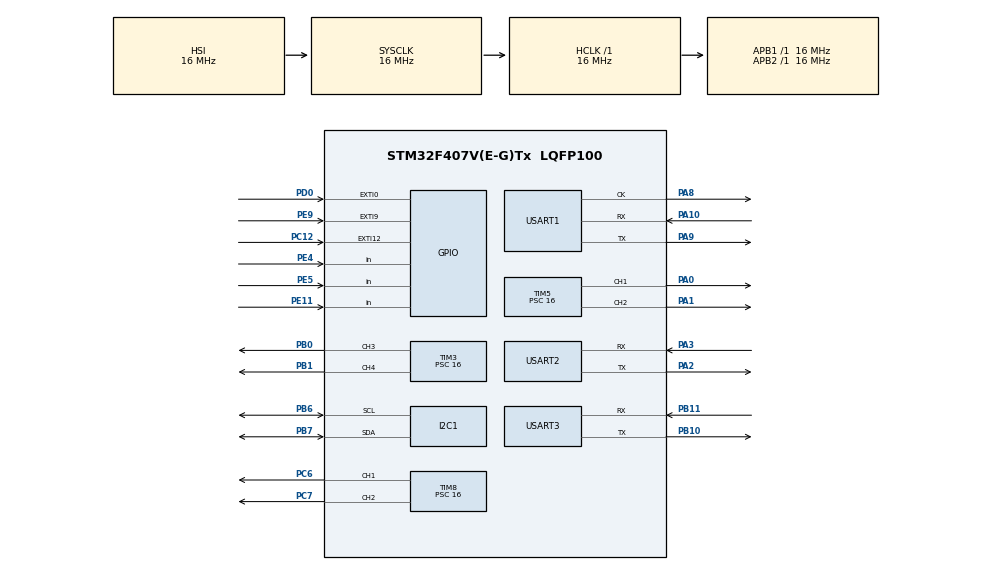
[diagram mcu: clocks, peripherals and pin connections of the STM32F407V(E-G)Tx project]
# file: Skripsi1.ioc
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Dma.Request0=USART2_RX
Dma.USART2_RX.0.Direction=DMA_PERIPH_TO_MEMORY
Dma.USART2_RX.0.FIFOMode=DMA_FIFOMODE_DISABLE
Dma.USART2_RX.0.Instance=DMA1_Stream5
Dma.USART2_RX.0.MemDataAlignment=DMA_MDATAALIGN_BYTE
Dma.USART2_RX.0.MemInc=DMA_MINC_ENABLE
Dma.USART2_RX.0.Mode=DMA_NORMAL
Dma.USART2_RX.0.PeriphDataAlignment=DMA_PDATAALIGN_BYTE
Dma.USART2_RX.0.PeriphInc=DMA_PINC_DISABLE
Dma.USART2_RX.0.Priority=DMA_PRIORITY_LOW
Mcu.Family=STM32F4
Mcu.Name=STM32F407V(E-G)Tx
Mcu.Package=LQFP100
NVIC.DMA1_Stream5_IRQn=true\:0\:0\:false\:false\:true\:false\:true
NVIC.EXTI0_IRQn=true\:0\:0\:false\:false\:true\:true\:true
NVIC.EXTI15_10_IRQn=true\:0\:0\:false\:false\:true\:true\:true
NVIC.EXTI9_5_IRQn=true\:0\:0\:false\:false\:true\:true\:true
NVIC.PriorityGroup=NVIC_PRIORITYGROUP_4
PA0-WKUP.Signal=S_TIM5_CH1
PA1.Signal=S_TIM5_CH2
PA10.Mode=Synchronous
PA10.Signal=USART1_RX
PA2.Mode=Asynchronous
PA2.Signal=USART2_TX
PA3.Mode=Asynchronous
PA3.Signal=USART2_RX
PA8.Mode=Synchronous
PA8.Signal=USART1_CK
PA9.Mode=Synchronous
PA9.Signal=USART1_TX
PB0.Signal=S_TIM3_CH3
PB1.Signal=S_TIM3_CH4
PB10.Mode=Asynchronous
PB10.Signal=USART3_TX
PB11.Mode=Asynchronous
PB11.Signal=USART3_RX
PB6.Mode=I2C
PB6.Signal=I2C1_SCL
PB7.Mode=I2C
PB7.Signal=I2C1_SDA
PC12.GPIO_PuPd=GPIO_PULLUP
PC12.Signal=GPXTI12
PC6.Signal=S_TIM8_CH1
PC7.Signal=S_TIM8_CH2
PD0.GPIO_PuPd=GPIO_PULLUP
PD0.Signal=GPXTI0
PE11.GPIO_PuPd=GPIO_PULLUP
PE11.Signal=GPIO_Input
PE4.GPIO_PuPd=GPIO_PULLUP
PE4.Signal=GPIO_Input
PE5.GPIO_PuPd=GPIO_PULLUP
PE5.Signal=GPIO_Input
PE9.GPIO_PuPd=GPIO_PULLUP
PE9.Signal=GPXTI9
PH0-OSC_IN.Mode=HSE-External-Oscillator
PH0-OSC_IN.Signal=RCC_OSC_IN
PH1-OSC_OUT.Mode=HSE-External-Oscillator
PH1-OSC_OUT.Signal=RCC_OSC_OUT
ProjectManager.HeapSize=0x200
ProjectManager.StackSize=0x400
ProjectManager.TargetToolchain=STM32CubeIDE
RCC.AHBFreq_Value=16000000
RCC.APB1Freq_Value=16000000
RCC.APB2Freq_Value=16000000
RCC.CortexFreq_Value=16000000
RCC.HSE_VALUE=25000000
RCC.HSI_VALUE=16000000
RCC.LSE_VALUE=32768
RCC.SYSCLKFreq_VALUE=16000000
RCC.VCOOutputFreq_Value=192000000
SH.S_TIM3_CH3.0=TIM3_CH3,PWM Generation3 CH3
SH.S_TIM3_CH4.0=TIM3_CH4,PWM Generation4 CH4
SH.S_TIM5_CH1.0=TIM5_CH1,PWM Generation1 CH1
SH.S_TIM5_CH2.0=TIM5_CH2,PWM Generation2 CH2
SH.S_TIM8_CH1.0=TIM8_CH1,PWM Generation1 CH1
SH.S_TIM8_CH2.0=TIM8_CH2,PWM Generation2 CH2
TIM1.Period=3999
TIM1.Prescaler=16000
TIM2.Period=2000
TIM2.Prescaler=16
TIM3.Channel-PWM\ Generation3\ CH3=TIM_CHANNEL_3
TIM3.Channel-PWM\ Generation4\ CH4=TIM_CHANNEL_4
TIM3.ClockDivision=TIM_CLOCKDIVISION_DIV1
TIM3.Period=1024
TIM3.Prescaler=16
TIM3.Pulse-PWM\ Generation3\ CH3=0
TIM3.Pulse-PWM\ Generation4\ CH4=0
TIM5.Channel-PWM\ Generation1\ CH1=TIM_CHANNEL_1
TIM5.Channel-PWM\ Generation2\ CH2=TIM_CHANNEL_2
TIM5.Period=1024
TIM5.Prescaler=16
TIM5.Pulse-PWM\ Generation1\ CH1=0
TIM8.Channel-PWM\ Generation1\ CH1=TIM_CHANNEL_1
TIM8.Channel-PWM\ Generation2\ CH2=TIM_CHANNEL_2
TIM8.Period=1024
TIM8.Prescaler=16
USART1.VirtualMode=VM_SYNC
USART2.VirtualMode=VM_ASYNC
USART3.VirtualMode=VM_ASYNC
VP_TIM1_VS_ClockSourceINT.Mode=Internal
VP_TIM2_VS_ClockSourceINT.Mode=Internal
board=custom

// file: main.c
/* USER CODE BEGIN Header */
/**
  ******************************************************************************
  * @file           : main.c
  * @brief          : Main program body
  ******************************************************************************
  * @attention
  *
  * <h2><center>&copy; Copyright (c) 2020 STMicroelectronics.
  * All rights reserved.</center></h2>
  *
  * This software component is licensed by ST under BSD 3-Clause license,
  * the "License"; You may not use this file except in compliance with the
  * License. You may obtain a copy of the License at:
  *                        opensource.org/licenses/BSD-3-Clause
  *
  ******************************************************************************
  */
/* USER CODE END Header */

#include "main.h"
#include "stm32f4xx_hal.h"
#include "STMSerial.h"
#include "math.h"
#include "stdio.h"
#include "stdlib.h"
#include "stdbool.h"
#include <string.h>
char USART2_read(void);
int USART2_write(int ch);
void _penyelarasan(char *input,char *temp,char *nilai);
void _pembacaan(char* input,char* temp);

I2C_HandleTypeDef hi2c1;

TIM_HandleTypeDef htim1;
TIM_HandleTypeDef htim2;
TIM_HandleTypeDef htim3;
TIM_HandleTypeDef htim5;
TIM_HandleTypeDef htim8;

USART_HandleTypeDef husart1;
UART_HandleTypeDef huart2;
UART_HandleTypeDef huart3;
DMA_HandleTypeDef hdma_usart2_rx;

/* USER CODE BEGIN PV */
int state=0;
int a=0,b=0,z,kec,banyakString,awal,tengah, akhir,v1,v3,kode,kecepatan,k=0;
char txData[10];
char rxData [50];
char kod;
char v2,v;
char dataS1[10];
char dataS2[10];
char dataS3[10];
char dataS12[10];
char dataS22[10];
char dataS32[10];
char dataSS12[10];
char dataSS22[10];
char dataSS32[10];
char* token;
char** rest[30];
char ch;
char kec1[64];
char kec2[64];
char kec3[64];
char xx[10];
char yy[10];

/* Private variables ---------------------------------------------------------*/
//=================== Nilai Encoder 1, 2, dan 3==============================
int en1,en2,en3;
int TotalEnc1,TotalEnc2,TotalEnc3;
int tPulsa_P=110;
int Current_P;
int Prev_p;

//================== Variable untuk pewaktu===========================
uint32_t Previous;
uint32_t Current;
int count1,count2;
int Interval = 100;
int Interval2 = 100;
int inter=0;
int range=0;
int WaktuMs;

//=================Variable Persamaan PID motor 1======================
int Error1;
int Last_Error1;
double Sum_Error1;
double SetPoint1 = 0;
double Real;
float PID_term1;
float KP1=4.5;
float KI1=0.01;
float KD1=0.5;

//=================Variable Persamaan PID motor 2======================
int Error2;
int Last_Error2;
double Sum_Error2;
double SetPoint2 = 0;
double Real;
float PID_term2;
float KP2=4.5;
float KI2=0.01;
float KD2=0.5;

//=================Variable Persamaan PID motor 3======================
int Error3;
int Last_Error3;
double Sum_Error3;
double SetPoint3 = 0;
double Real;
float PID_term3;
float KP3=4.5;
float KI3=0.01;
float KD3=0.5;
float RPM1,RPM2,RPM3;

//=================Variable Moving Avereage====================
int ke1,ke2,ke3;
int data[10];
int hasil;

//===================Variable Motor=============================
int Duty1,Duty2,Duty3;
float Wx,Wy,Ww;

//========================== Variable Koordinat  X dan Y=================
float Xt,X0 ;
float Yt,Y0;
float Wt,W0;
float Tht = 0;

float Dt;
float EM1, EM2, EM3;
float Vx,Vy,V0;
float limit_Vx,limit_Vy,limit_Vw;
bool X;
int pe=0;

float VRx,VRy,VRw;
float wI1,wI2,wI3;
//============================Data Regresi================================

int data_1[105],data_2[105],data_3[105];
int RPM1_F,PWM1_F,RPM1_B,PWM1_B,RPM2_F,PWM2_F,RPM2_B,PWM2_B,RPM3_F,PWM3_F,RPM3_B,PWM3_B;

//============================Trajectory Tracking======================
float VX0,VY0,VTh0,VXt,VYt,VTht;
int eX,eY,eth;
float kx  = 0;
float ky  = 0;
float kth = 0;
int l;

//=======================jarak X,Y dan 0============
int jarak_M1,jarak_M2,jarak_M3;
float kor_X,kor_Y;
int n,xT,yT;
double jarak_tempuhX,jarak_sebelumX,jarak_totalX;
double jarak_tempuhY,jarak_sebelumY,jarak_totalY;
double jarak_tempuh0,jarak_sebelum0,jarak_total0;

//======================= kecepatan V ms =================
float Vxms,Vyms,Vwms;

//====================== Trajectory Tracking ===================
double Zxref,Zxt,Zx0,Vzx0,Vzxref;
double Zyref,Zyt,Zy0,Vzy0,Vzyref;
double Z0ref,Z0t,Z00,Vz00,Vz0ref;
double Ztf,Zt,t,DeltaX,DeltaY,Delta0;

//====================== Error Trajectory =================
double EZx_Sekarang,EZx_Sebelum,EZx_Total;
double EZy_Sekarang,EZy_Sebelum,EZy_Total;
double EZ0_Sekarang,EZ0_Sebelum,EZ0_Total;

//===================== Trajetory Tracking ============
float ax0,ax1,ax2,ax3;
float ay0,ay1,ay2,ay3;
float a00,a01,a02,a03;

/* USER CODE END PV */

void SystemClock_Config(void);
static void MX_GPIO_Init(void);
static void MX_DMA_Init(void);
static void MX_TIM3_Init(void);
static void MX_TIM5_Init(void);
static void MX_TIM8_Init(void);
static void MX_USART2_UART_Init(void);
static void MX_I2C1_Init(void);
static void MX_TIM1_Init(void);
static void MX_TIM2_Init(void);
static void MX_USART1_Init(void);
static void MX_USART3_UART_Init(void);
/* USER CODE BEGIN PFP */
/* Private function prototypes -----------------------------------------------*/
float Moving_Average(int input){

	float Hasil_f;
	data[ke1] = input;
	ke1++;
	if(ke1 == 10){
		ke1 =0;
	}

	Hasil_f = (data[0] + data[1] + data[2] + data[3] + data[4] + data[5] + data[6] + data[7] + data[8] + data[9] )/10;

   return 	Hasil_f ;

}

void PID_TERM_1(){
	Error1 = (SetPoint1) - RPM1;
	PID_term1 = (KP1 * Error1) + (KI1 * Sum_Error1) + ((KD1/Interval) * (Error1 - Last_Error1));
	Sum_Error1 += Error1;
	Last_Error1 = Error1;
}

void PID_TERM_2(){
	Error2 = (SetPoint2) - RPM2;
	PID_term2 = (KP2 * Error2) + (KI2 * Sum_Error2) + ((KD2/Interval) * (Error2 - Last_Error2));
	Sum_Error2 += Error2;
	Last_Error2 = Error2;
}

void PID_TERM_3(){
	Error3 = (SetPoint3) - RPM3;
	PID_term3 = (KP3 * Error3) + (KI3 * Sum_Error3) + ((KD3/Interval) * (Error3 - Last_Error3));
	Sum_Error3 += Error3;
	Last_Error3 = Error3;
}

void interval(int Interval){
	/*fungsi ini digunakan untuk mengambil data dalam jangka waktu tertentu.
	 * variable Interval dimasukan dalam orde miliSecond
	 *
	 */
	count1 = __HAL_TIM_GET_COUNTER(&htim1);
	if(count1 == Interval-1){
		   //STM_Serial_PrintInt(count1);
		  // STM_Serial_Print("\n\r");
		   __HAL_TIM_SET_COUNTER(&htim1,0);

		  }
}

void Motor_2(int Kecepatan_1){
	if(Kecepatan_1 > 0){
		htim5.Instance->CCR2 = Kecepatan_1;
		htim5.Instance->CCR1 = 0;
	}
	else if(Kecepatan_1 < 0){
		htim5.Instance->CCR2 = 0;
		htim5.Instance->CCR1 = Kecepatan_1*-1;
	}
	else if(Kecepatan_1 == 0){
		htim5.Instance->CCR2 = 0;
		htim5.Instance->CCR1 = 0;
	}
}

void Motor_1(int Kecepatan_2){
	if(Kecepatan_2 > 0){
		htim3.Instance->CCR3 = Kecepatan_2;
		htim3.Instance->CCR4 = 0;
	}
	else if(Kecepatan_2 < 0){
		htim3.Instance->CCR3 = 0;
		htim3.Instance->CCR4 = Kecepatan_2*-1;
	}
	else if(Kecepatan_2 == 0){
		htim3.Instance->CCR3 = 0;
		htim3.Instance->CCR4 = 0;
	}
}

void Motor_3(int Kecepatan_3){
	if(Kecepatan_3 > 0){
		htim8.Instance->CCR1 = Kecepatan_3;
		htim8.Instance->CCR2 = 0;
	}
	else if(Kecepatan_3 < 0){
		htim8.Instance->CCR1 = 0;
		htim8.Instance->CCR2 = Kecepatan_3*-1;
	}
	else if(Kecepatan_3 == 0){
		htim8.Instance->CCR1 = 0;
		htim8.Instance->CCR2 = 0;
	}
}

void Forward_kinematic(float w1, int w2, int w3){

//	 if (wI1 <0){
//		 w1 = w1*-1;
//	 	 }
//	 if (wI2 <0){
//	 		 w2 = w2*-1;
//	 	 }
//	 if (wI3 <0){
//	 		 w3 = w3*-1;
//	 	}
	Wx = 0.866 * w1  - 0.866 * w2;
	Wy = 0.5   * w1  + 0.5   * w2 - w3;
	Ww = w1/14 + w2/14 + w3/14;

	VRx = (3*2*3.14) * Wx;
	VRy = (3*2*3.14) * Wy;
	VRw = (3*2*3.14) * Ww;
//Punyaku
//	Wx = -0.866 * w1  - 0.866 * w2 - w3;
//	Wy = 0.5   * w1  - 0.5   * w2;
//	Ww = w1/14 + w2/14 + w3/14;
//
//	VRx = (3*2*3.14) * Wx;
//	VRy = (3*2*3.14) * Wy;
//	VRw = (3*2*3.14) * Ww;

}

void Inverse_Kinematic(float x, float y, float w ){
	/*============Persamaan Forward Kinematik  3 Roda===================
	 * th = 30;
	 *
	 * Vx = ( cos(th)*V1 - cos(th)*V2 +  0    )/r
	 * Vy = ( sin(th)*V1 +  sin(th)*V2  -V3   )/r
	 * V0 = (    V1/14   +    V2/14   + V3/14 )/r
	 *
	 * ===========Persamaan Inverse Kinematik 3 Roda=====================
	 *
	 */

	wI1 = ( 0.333*y + 0.5774*x +  4.667*w);
	wI3 = ( 0.333*y - 0.5774*x +  4.667*w);
	wI2 = (-0.667*y + 0        +  4.667*w);

	SetPoint1 = wI1/(3*2*3.14);
	SetPoint2 = wI2/(3*2*3.14);
	SetPoint3 = wI3/(3*2*3.14);

//punyaku
//	wI1 = ( 1*y - 0.268*x +  3.7537*w);
//	wI3 = ( -1*y - 0.268*x +  3.7537*w);
//	wI2 = (0 + 0.536*x        +  6.501*w);
//
//	SetPoint1 = wI1/(3*2*3.14);
//	SetPoint2 = wI2/(3*2*3.14);
//	SetPoint3 = wI3/(3*2*3.14);

}

void koordinat(float S_M1,float S_M2, float S_M3){
	int X,Y;

	X = -0.866*S_M1  -0.866*S_M3 + S_M2;
	Y = -0.5 *S_M1 + 0.5* S_M3;

	kor_X = X;
	kor_Y = Y;
}

void Jarak_Tempuh(float SX, float SY){
	/*Persamaan Jarak tempuh
	 * th = 120;
	 * S1 = -0.866*SX  + 0.5493*SY
	 * S2 = -0.866*SX  - 0.5493*SY
	 * S3 =  1.7321*SX
//	 */
//	S_M1t = -0.866*SX + 0.866*SY;
//	S_M2t = -0.866*SX - 0.5493*SY;
//	S_M3t =  1.7321*SX           ;
//
//	Vx = SX;
//	Vy = SY;
//	V0 = 0;

}

float Scaling(float in, uint8_t x1, uint8_t x2, uint8_t y1, uint8_t y2 ){
	float  m;
	float  out;
	m = (y2 - y1)/ (x2 - x1);
	out = m*in + y1;
	return out;
}

float constrain( float in, uint16_t up, uint8_t down){
	float out;
	if(in < down){
		out = down;
	}
	else if ( in > up){
		out = up;
	}
	else
		out = in;

	return out;
}

void persamaan_regresi(){
	/*==================Persamaan Regresi Linear========================
	 * y = RPM (Output)
	 * x = PWM (Input)
	 *
	 * Persmaan liner Motor 1 Maju
	 * y = 0.28*x-10
	 *
	 * Persmaan liner Motor 1 Mundur
	 * y = 0.28*x-10
	 *
	 * Persmaan linear motor 2 maju
	 * y = 0.28*x-17
	 *
	 * Persamaan linear motor 2 Mundur
	 * y = 0.28*x-15
	 *
	 * Persamaan liner motor 3 maju
	 * y = 0.28*x-11
	 *
	 * Persamaan liner motor 3 Mundur
	 * y = 0.28*x -11
	 */
	//====================RPM Motor 1=============================
		PWM1_F = ((100*RPM1_F)/28)+10;

		PWM1_B = ((100*RPM1_B)/28)+10;

	//====================RPM Motor 2=============================
		PWM2_F = ((100*RPM2_F)/28)+17;

		PWM2_B = ((100*RPM2_B)/28)+15;

	//====================RPM Motor 3=============================
		PWM3_F = ((100*RPM3_F)/28)+11;

		PWM3_B = ((100*RPM3_B)/28)+11;

}

void Tampilan_Serial(int x){
	switch(x){

	case 1:
		   STM_Serial_Print("count :");
		   STM_Serial_PrintInt(count1);
		   STM_Serial_Print(" | ");
		   STM_Serial_Print("Setpoint 1 :");
		   STM_Serial_PrintInt(SetPoint1);
		   STM_Serial_Print(" | ");
		   STM_Serial_Print(" PWM1 :");
		   STM_Serial_PrintInt(Duty1);
		   STM_Serial_Print(" |   ");
		   STM_Serial_Print("Setpoint 2 :");
		   STM_Serial_PrintInt(SetPoint2);
		   STM_Serial_Print(" | ");
		   STM_Serial_Print(" PWM2 :");
		   STM_Serial_PrintInt(Duty2);
		   STM_Serial_Print(" |   ");
		   STM_Serial_Print("Setpoint 3 :");
		   STM_Serial_PrintInt(SetPoint3);
		   STM_Serial_Print(" | ");
		   STM_Serial_Print(" PWM3 :");
		   STM_Serial_PrintInt(Duty3);
		   STM_Serial_Print(" | \r\n");
		  break;
	case 2:
			STM_Serial_PrintInt(Error1);
			STM_Serial_Print(" | ");
			STM_Serial_PrintInt(Error2);
			STM_Serial_Print(" | ");
			STM_Serial_PrintInt(Error3);
			STM_Serial_Print(" | ");
			STM_Serial_PrintInt(data[4]);
			STM_Serial_Print(" | ");
			STM_Serial_PrintInt(data[5]);
			STM_Serial_Print(" | ");
			STM_Serial_PrintInt(data[6]);
			STM_Serial_Print(" | ");
			STM_Serial_PrintInt(data[7]);
			STM_Serial_Print(" | ");
			STM_Serial_PrintInt(data[8]);
			STM_Serial_Print(" | ");
			STM_Serial_PrintInt(data[9]);
			STM_Serial_Print(" | \r\n");
			break;
	case 3:
		STM_Serial_Print("Nilai VX ms :");
		STM_Serial_PrintInt(Vxms);
		STM_Serial_Print(" | ");
		STM_Serial_Print("Nilai VY ms :");
		STM_Serial_PrintInt(Vyms);
		STM_Serial_Print(" | ");
		STM_Serial_Print("Nilai Vw ms :");
		STM_Serial_PrintInt(Vwms);
		STM_Serial_Print(" | \r\n");
		break;

	case 4 :
		STM_Serial_PrintInt(VRx);
		STM_Serial_Print(" | ");
		STM_Serial_PrintInt(VRy);
		STM_Serial_Print(" | ");
		STM_Serial_PrintInt(VRw);
		STM_Serial_Print(" | ");
		STM_Serial_Print("Data Motor1 RPM :");
	    STM_Serial_PrintInt(RPM1);
		STM_Serial_Print("Data Motor2 RPM :");
	    STM_Serial_PrintInt(RPM2);
		STM_Serial_Print("Data Motor3 RPM :");
	    STM_Serial_PrintInt(RPM3);
		STM_Serial_Print(" | \r\n");
		break;

	case 5:

		STM_Serial_PrintInt(jarak_M1);
		STM_Serial_Print(" | ");
		STM_Serial_PrintInt(jarak_M2);
		STM_Serial_Print(" | ");
		STM_Serial_PrintInt(jarak_M3);
		STM_Serial_Print(" | \r\n");
		break;

	case 6 :
		   STM_Serial_Print("Data Motor1 RPM :");
		   STM_Serial_PrintInt(RPM1);
		   STM_Serial_Print(" | ");
		   STM_Serial_Print(" PWM1 :");
		   STM_Serial_PrintInt(Duty1);
		   STM_Serial_Print(" |   ");
		   STM_Serial_Print("Data Motor2 RPM :");
		   STM_Serial_PrintInt(RPM2);
		   STM_Serial_Print(" | ");
		   STM_Serial_Print(" PWM2 :");
		   STM_Serial_PrintInt(Duty2);
		   STM_Serial_Print(" |   ");
		   STM_Serial_Print("Data Motor3 RPM :");
		   STM_Serial_PrintInt(RPM3);
		   STM_Serial_Print(" | ");
		   STM_Serial_Print(" PWM3 :");
		   STM_Serial_PrintInt(Duty3);
		   STM_Serial_Print(" | \r\n");
		  break;

	case 7 :
//		STM_Serial_Print("Jarak Tempuh X :");
//		STM_Serial_PrintInt(jarak_tempuhX);
//		STM_Serial_Print("|");
//		STM_Serial_Print("Jarak Total X :");
		STM_Serial_PrintInt(jarak_totalX);
		STM_Serial_Print("|");
//		STM_Serial_Print("Jarak sebelum X :");
//		STM_Serial_PrintInt(jarak_sebelumX);
//		STM_Serial_Print("  |  |  ");
//		STM_Serial_Print("Jarak Tempuh Y :");
//		STM_Serial_PrintInt(jarak_tempuhY);
//		STM_Serial_Print("|");
//		STM_Serial_Print("Jarak Total Y :");
		STM_Serial_PrintInt(jarak_totalY);
//		STM_Serial_Print("|");
//		STM_Serial_Print("Jarak sebelum Y :");
//		STM_Serial_PrintInt(jarak_sebelumY);
		STM_Serial_Print("\r\n");
		break;

	case 8 :
		STM_Serial_Print("Jarak Tempuh X :");
		STM_Serial_PrintInt(Vx);
		STM_Serial_Print("|");
		STM_Serial_Print(" X :");
		STM_Serial_PrintInt(Zxt);
		STM_Serial_Print("|");
		STM_Serial_Print("|\r\n");
		break;

	case 9 :
		STM_Serial_ReadBegin(4);
//		STM_Serial_Print("Hasil Bacaan :");
//		STM_Serial_PrintInt(Vx);
		break;
	case 10 :
		STM_Serial_PrintInt(Zxt);
		STM_Serial_Print("x");
		STM_Serial_Print("?");
		STM_Serial_PrintInt(Zyt);
		STM_Serial_Print("y");
		STM_Serial_Print("?");
//		STM_Serial_Print(" 0 :");
//		STM_Serial_PrintInt(Z0t);
//		STM_Serial_Print("|");
//		STM_Serial_Print("|\r\n");
	case 11 :
//		STM_Serial_PrintInt(RPM1);
//		STM_Serial_Print(" | ");
//		STM_Serial_PrintInt(RPM2);
//		STM_Serial_Print(" | ");
//		STM_Serial_PrintInt(RPM3);
//		STM_Serial_Print(" |\n ");
		STM_Serial_PrintInt(EZx_Sekarang/10); // nilai real robot
		//STM_Serial_Print("x");
		STM_Serial_Print(",");
		STM_Serial_PrintInt(EZy_Sekarang/10); // nilai real robot
		//STM_Serial_Print("y");
		STM_Serial_Print("?");
	case 12 :
		STM_Serial_PrintInt(RPM1);
		STM_Serial_Print(",");
		STM_Serial_PrintInt(RPM2);
		STM_Serial_Print(",");
		STM_Serial_PrintInt(RPM3);
		STM_Serial_Print("?");

	}
}

void riset_error(){
	Error1 = 0;
	Sum_Error1 = 0;
	Last_Error1 =0;

	Error2 = 0;
	Sum_Error2 = 0;
	Last_Error2 =0;

	Error3 = 0;
	Sum_Error3 = 0;
	Last_Error3 =0;
}

void TF_Motor1(){
	  if(SetPoint1 > 0){
		  RPM1_F = SetPoint1/6;
		  PWM1_F = ((100/28)*RPM1_F)+10;
		  Duty1 = PWM1_F;
		  Motor_1(Duty1);
	  }

	  else if(SetPoint1 <= 0){
		  RPM1_B = -1*SetPoint1/6;
		  PWM1_B = ((100/28)*RPM1_B)+10;
		  Duty1 = PWM1_B;
		  Motor_1(-1*Duty1);
	  }
}

void TF_Motor2(){
	  if(SetPoint2 > 0){
		  RPM2_F = SetPoint2/6;
		  PWM2_F = ((100/28)*RPM2_F)+17;
		  Duty2 = PWM2_F;
		  Motor_2(Duty2);
	  }

	  else if(SetPoint2 <= 0){
		  RPM2_B = -1*SetPoint2/6;
		  PWM2_B = ((100/28)*RPM2_B)+15;
		  Duty2 = PWM2_B;
		  Motor_2(-1*Duty2);
	  }
}

void TF_Motor3(){
	  if(SetPoint3 > 0){
		  RPM3_F = SetPoint3/6;
		  PWM3_F = ((100/28)*RPM3_F)+17;
		  Duty3 = PWM3_F;
		  Motor_3(Duty3);
	  }

	  else if(SetPoint3 <= 0){
		  RPM3_B = -1*SetPoint3/6;
		  PWM3_B = ((100/28)*RPM3_B)+15;
		  Duty3 = PWM3_B;
		  Motor_3(-1*Duty3);
	  }
}
void readVelocity(){
	if(rxData[4] == '1'){
			//  strcpy(dataS1,"");
			strncpy(dataS1,rxData,4);
			if (atoi(dataS1)==0 && strstr(dataS1,"-")){
				a = - atoi(dataS1);
			}else{
				a = atoi(dataS1);
			}
		}

	if(rxData[10] == '2'){
			//  strcpy(dataS2,"");
			strncpy(dataS2,(rxData)+6,4);
			if (atoi(dataS2)==0 && strstr(dataS2,"-")){
				b = - atoi(dataS2);
			}else{
				b = atoi(dataS2);
			}
		}
//		else if(rxData[4] == '3'){
//			//  strcpy(dataS3,"");
//			strncpy(dataS3,rxData,4);
//			if (atoi(dataS3)==0 && strstr(dataS3,"-")){
//				z = - atoi(dataS3);
//			}else{
//				z = atoi(dataS3);
//			}
//		}
//		else{
//			Motor_1(0);
//			Motor_2(0);
//			Motor_3(0);
//			//STM_Serial_Print("undefined");
//		}

//----------------------------------------------------------------------------
//	if(rxData[4] == '1'){
//		//  strcpy(dataS1,"");
//		strncpy(dataS1,rxData,4);
//		if (atoi(dataS1)==0 && strstr(dataS1,"-")){
//			a = - atoi(dataS1);
//		}else{
//			a = atoi(dataS1);
//		}
//
//		//STM_Serial_PrintInt(x);
//		//Motor_1(x);
//		//STM_Serial_PrintInt(x+"1");
//	}
//	else if(rxData[4] == '2'){
//		//  strcpy(dataS2,"");
//		strncpy(dataS2,rxData,4);
//		if (atoi(dataS2)==0 && strstr(dataS2,"-")){
//			b = - atoi(dataS2);
//		}else{
//			b = atoi(dataS2);
//		}
//		//y = atoi(dataS2);
//		//STM_Serial_PrintInt(y);
//	//				  STM_Serial_Print("Y ");
//	//				  STM_Serial_Print("\n");
//		//Motor_2(y);
//		//STM_Serial_PrintInt(y+"2");
//	}
//	else if(rxData[4] == '3'){
//		//  strcpy(dataS3,"");
//		strncpy(dataS3,rxData,4);
//		if (atoi(dataS3)==0 && strstr(dataS3,"-")){
//			z = - atoi(dataS3);
//		}else{
//			z = atoi(dataS3);
//		}
//		//z = atoi(dataS3);
//		//STM_Serial_PrintInt(z);
//	//				  STM_Serial_Print("O ");
//	//			  STM_Serial_Print("\n");
//				  //Motor_3(z);
//				  //STM_Serial_PrintInt(z+"3");
//	}
//	else{
//		Motor_1(0);
//		Motor_2(0);
//		Motor_3(0);
//		//STM_Serial_Print("undefined");
//	}
//------------------------------------------------------------------------------
}

/* USER CODE END PFP */

int main(void)
{

  /* MCU Configuration--------------------------------------------------------*/

  /* Reset of all peripherals, Initializes the Flash interface and the Systick. */
  HAL_Init();

  /* Configure the system clock */
  SystemClock_Config();

  /* Initialize all configured peripherals */
  MX_GPIO_Init();
  MX_DMA_Init();
  MX_TIM3_Init();
  MX_TIM5_Init();
  MX_TIM8_Init();
  MX_USART2_UART_Init();
  MX_I2C1_Init();
  MX_TIM1_Init();
  MX_TIM2_Init();
  MX_USART1_Init();
  MX_USART3_UART_Init();
  /* USER CODE BEGIN 2 */

  //=================== inisialisasi Timer( PWM ) motor 1, 2, dan 3 ===========================
   HAL_TIM_PWM_Start(&htim5, TIM_CHANNEL_1);
   HAL_TIM_PWM_Start(&htim5, TIM_CHANNEL_2);
   HAL_TIM_PWM_Start(&htim3, TIM_CHANNEL_3);
   HAL_TIM_PWM_Start(&htim3, TIM_CHANNEL_4);
   HAL_TIM_PWM_Start(&htim8, TIM_CHANNEL_1);
   HAL_TIM_PWM_Start(&htim8, TIM_CHANNEL_2);

   //===================== Untuk Membuat Interval waktu ======================================
   HAL_TIM_Base_Start(&htim1);
   HAL_TIM_Base_Start(&htim2);

  /* USER CODE END 2 */
//   for(int i = 0; i<=30000;i++){
//	   HAL_UART_Receive_DMA(&huart2,(uint8_t*)rxData,100);
//	  // HAL_USART_Receive_DMA(&husart1,(uint8_t*)rxData,100);
//	   //readVelocity();
////	   if(rxData[4] == '1'){
////		   //  strcpy(dataS1,"");
////		   strncpy(dataS1,rxData,4);
////		   if (atoi(dataS1)<=0 && strstr(dataS1,"-")){
////			   a = - atoi(dataS1);
////		   }else{
////			   a = atoi(dataS1);
////		   }
////	   }
////
////	   if(rxData[10] == '2'){
////		   //  strcpy(dataS2,"");
////		   strncpy(dataS2,(rxData)+6,4);
////		   if (atoi(dataS2)<=0 && strstr(dataS2,"-")){
////			   b = - atoi(dataS2);
////		   }else{
////			   b = atoi(dataS2);
////		   }
////	   }
//
//
//  //	  if (a != 0 && b != 0){
//  //		   STM_Serial_Print(" ready! ");
//  //		   break;
//  //	  }
//     }
  /* Infinite loop */
  while (1)
  {
	  //========================== Pengaturan Pergerakan Robot =========================
	  //  if(x != 0 && y!= 0){

	  count1 = __HAL_TIM_GET_COUNTER(&htim1);
//	  HAL_UART_Receive_DMA(&huart2,(uint8_t*)rxData,100);
//	  readVelocity();
	  //	if(a != 0 && b!= 0){
	  //	 for(int i=0; i<=120; i++){
	  //	  if(t >= 0 && t <= 2.5){
	  if(t >= 0 && t <= 2.5){
		  //Zxref = a;//Zxref = 100; //**Zxref = a;
		  Zxref = 100;
		  Zx0   = Zx0;
		  Zyref = 0;//*Zyref = 0;//**Zyref = b;
		  Zy0   = Zy0;
		  Ztf   = 2.5;
		  Zt    = t;
	  }

	  if(t >= 2.5 && t <= 5){

		  //Zxref = a;//*Zxref = a;//Zxref = 100;//** Zxref = 0
		  Zxref = 100;
		  //Zx0   = a;//Zx0   = 100;//**Zx0   = a;
		  Zx0 = Zxt; // posisi sekarang trajectory tracking
		  //Zyref = b;//Zyref = 100;//**Zyref = b;
		  Zyref = 100;
		  Zy0   = Zyt;//*Zy0   = 0;//**Zy0   = b;
		  Ztf   = 2.5;
		  Zt    = t - 2.5;
	  }

	  if(t >= 5.5 && t <= 7.5){

		  Zxref = 0;
		  //Zx0   = a;//*Zx0   = a;//Zx0   = 100;//**Zx0   = 0;
		  Zx0 = Zxt; //posisi sekarang trajectory tracking
		  Zyref = 100;//*Zyref = b;//Zyref = 100;//**Zyref = 0;
		  //Zy0   = b;//Zy0   = 100;//**Zy0   = b;
		  Zy0 = Zyt;//posisi sekarang trajectory tracking
		  Ztf   = 2.5;
		  Zt    = t - 5.5;
	  }

	  if(t >= 7.5 && t <= 10){

		  Zxref = 0;
		  Zx0   = Zxt;
		  Zyref = 0;
		  Zy0   = Zyt;//Zy0   = 100;
		  Ztf   = 2.5;
		  Zt    = t - 7.5;
	  }

	  if(t >= 10){
		  //if(t >= 2.5){
		  t = 0;
		  Vx =0;
		  Vy =0;
		  Zx0 = jarak_totalX*0.1;
		  Zy0 = jarak_totalY*0.1;
	  }

	  //=========================== Define Velocity =====================================
	  Vx = ((ax1) + (ax2*Zt*2) + (ax3*Zt*Zt*3))*60;

	  Vy = ((ay1) + (ay2*Zt*2) + (ay3*Zt*Zt*3))*60;

	  V0 = ((a01) + (a02*Zt*2) + (a03*Zt*Zt*3))*60;

	  //==================================================================================

	  //========================= Pembatasan Nilai Kecepatan =============================

	  DeltaX = ((ax2*2)*(ax2*2)) - (4*(ax3*3)*(ax1));
	  DeltaY = ((ay2*2)*(ay2*2)) - (4*(ay3*3)*(ay1));
	  Delta0 = ((a02*2)*(a02*2)) - (4*(a03*3)*(a01));

	  limit_Vx = DeltaX /-2*(ax3*3);

	  limit_Vy = DeltaY /-2*(ay3*3);

	  limit_Vw = Delta0 /-2*(a03*3);

	  if(Vx >= limit_Vx *60){
		  Inverse_Kinematic(0,0,0 );
	  }

	  if(Vy >= limit_Vy * 60){
		  Inverse_Kinematic(0,0,0 );
	  }

	  if(V0 >= limit_Vw* 60){
		  Inverse_Kinematic(0,0,0 );
	  }

	  //==================================================================================
	  if(Zt >= Ztf){
		  Vx =0;
		  Vy =0;
	  }
	  Inverse_Kinematic((Vx - EZx_Sekarang),(Vy - EZy_Sekarang),0 );

	  	  //Inverse_Kinematic((Vx),(Vy),0 );

	  	  //===================Sampling waktu dalam 100ms===================
	  // untuk mendapatkan data dari bluetooth
	  if(count1 == Interval){
		 // if(a==0 || b==0){
			  HAL_UART_Receive_DMA(&huart2,(uint8_t*)rxData,100);
			  //readVelocity();
			  if(rxData[4] == '1'){
				  //  strcpy(dataS1,"");
				  strncpy(dataS1,rxData,4);
				  if (atoi(dataS1)==0 && strstr(dataS1,"-")){
					  Vxms = - atoi(dataS1);
				  }else{
					  Vxms = atoi(dataS1);
				  }
			  }

			  if(rxData[10] == '2'){
				  //  strcpy(dataS2,"");
				  strncpy(dataS2,(rxData)+6,4);
				  if (atoi(dataS2)==0 && strstr(dataS2,"-")){
					  Vyms = - atoi(dataS2);
				  }else{
					  Vyms = atoi(dataS2);
				  }
			  }
		 // }
		  //Menentukan nilai RPM1, RPM2, dan RPM3 dalam 100ms
		  TotalEnc1 = en1;
		  TotalEnc2 = en2;
		  TotalEnc3 = en3;

		  //================ Menghitung nilai total encoder========================
		  jarak_M1 +=en1;
		  jarak_M2 +=en2;
		  jarak_M3 +=en3;

		  //================== Mendapatkan nilai RPM =========================
		  RPM1 = (TotalEnc1)*(600/110);
		  RPM2 = (TotalEnc2)*(600/110);
		  RPM3 = (TotalEnc3)*(600/110);

		  //==================== Menghitung kecepatan Linear =====================
		  Forward_kinematic(RPM1,RPM3,RPM2);

		  //==================== Mengubah nilai kecepatan  V cm/m => V cm/s ==========
		  Vxms = VRx/60;
		  Vyms = VRy/60;
		  Vwms = VRw/60;

		  jarak_tempuhX  = Vxms*0.1;//harus dikali 0,1 sebagai sampling time
		  jarak_totalX   = jarak_sebelumX + jarak_tempuhX;
		  jarak_sebelumX = jarak_totalX;

		  jarak_tempuhY  = Vyms*0.1;//harus dikali 0,1 sebagai sampling time
		  jarak_totalY   = jarak_sebelumY + jarak_tempuhY;
		  jarak_sebelumY = jarak_totalY;

		  jarak_tempuh0  = Vwms;//harus dikali 0,1 sebagai sampling time
		  jarak_total0   = jarak_sebelum0 + jarak_tempuh0;
		  jarak_sebelum0 = jarak_total0;

		  //======================= Permasamaan Error Trajectory ========================
		  EZx_Sekarang = jarak_totalX - Zxt ;
		  EZx_Total    = EZx_Sekarang + EZx_Sebelum;
		  EZx_Sebelum  = EZx_Total;

		  EZy_Sekarang = jarak_totalY - Zyt ;
		  EZy_Total    = EZy_Sekarang + EZy_Sebelum;
		  EZy_Sebelum  = EZy_Total;

		  EZ0_Sekarang = jarak_total0 - Z0t ;
		  EZ0_Total    = EZ0_Sekarang + EZ0_Sebelum;
		  EZ0_Sebelum  = EZ0_Total;
		  //======================= Persmaan Posisi trajectory Tracking===================

		  //======================= Persmaan untuk koordinat X,Y dan 0 =========================
		  ax0 = Zx0; // d
		  ax1 = 0  ; // c
		  ax2 =  3*(Zxref - Zx0)*(1/(Ztf*Ztf)); //b
		  ax3 = -2*(Zxref - Zx0)*(1/(Ztf*Ztf*Ztf)); //a

		  Zxt  = (ax0) + (ax1*Zt) + (ax2*(Zt*Zt)) + (ax3*(Zt*Zt*Zt));

		  ay0 = Zy0;
		  ay1 = 0  ;
		  ay2 =  3*(Zyref - Zy0)*(1/(Ztf*Ztf));
		  ay3 = -2*(Zyref - Zy0)*(1/(Ztf*Ztf*Ztf));

		  Zyt  = (ay0) + (ay1*Zt) + (ay2*(Zt*Zt)) + (ay3*(Zt*Zt*Zt));

		  a00 = Z00;
		  a01 = 0  ;
		  a02 =  3*(Z0ref - Z00)*(1/(Ztf*Ztf));
		  a03 = -2*(Z0ref - Z00)*(1/(Ztf*Ztf*Ztf));

		  Z0t  = (a00) + (a01*Zt) + (a02*(Zt*Zt)) + (a03*(Zt*Zt*Zt));

		  //===============================================================================

		  //======================= Persamaan Error Trajectory ============================
		  EZx_Sekarang = (Vxms * 0.1) - Vx;
		  EZy_Sekarang = (Vyms * 0.1) - Vy;
		  EZ0_Sekarang = (jarak_tempuh0 * 0.1) - Z0t;

		  //================================================================================
		  //Memanggil fungsi PID tiap Motor
		  PID_TERM_1();
		  PID_TERM_2();
		  PID_TERM_3();

		  //membataskan nilai output dari persamaan PID
		  Duty1 = constrain(abs(PID_term1),1024,0);
		  Duty2 = constrain(abs(PID_term2),1024,0);
		  Duty3 = constrain(abs(PID_term3),1024,0);

		  //Menampilkan nilai
		  /*Subfungsi Tampilan_Serial(x)
		   * x = 1 untuk menampilkan RPM dan PWM pada setiap motor
		   * x = 2 untuk menampilkan data filter
		   * x = 3 untuk menampilkan nilai Vms
		   * x = 4 untuk menampilkan nilai VR
		   * x = 5 untuk menampilkan data motor
		   * x = 6 untuk menampilkan perbandinga RPM dan dutyClycle
		   * x = 7 untuk menampilkan jarak tempuh x,y dan 0
		   */
		  STM_Serial_PrintInt(Vx); //mengirim ref v x
		  STM_Serial_Print(",");
		  STM_Serial_PrintInt(Vy); // mengirim ref v y
		  STM_Serial_Print(",");
		  STM_Serial_PrintInt(Vxms); // mengirim v x sekarang
		  STM_Serial_Print(",");
		  STM_Serial_PrintInt(Vyms); // mengirim v y sekarang
		  STM_Serial_Print("?");
		 // STM_Serial_PrintInt(jarak_totalX/10); // nilai real robot
		 // STM_Serial_Print(",");
		 // STM_Serial_PrintInt(jarak_totalY/10); // nilai real robot
		 // STM_Serial_Print("?");
//		  Tampilan_Serial(11);
		  __HAL_TIM_SET_COUNTER(&htim1,0);
		  //					   STM_Serial_PrintInt(t);
	  	  //					   STM_Serial_Print("\r\n");

		  //Mengreset nilai encoder pada nilai nol
		  en1 = 0;
		  en2 = 0;
		  en3 = 0;

		  t = t + 0.1;

	  }

	  //========================Untuk menjalankan semua motor DC maju atau mundur==========================
	  if(PID_term1 >= 0){
		  Motor_1(Duty1);
	  }
	  else if (PID_term1 < 0){
		  Motor_1(Duty1*-1);
	  }
	  else if(SetPoint1 == 0){
		  Motor_1(0);
		  Error1 = 0;
		  Sum_Error1 = 0;
		  Last_Error1 =0;
	  }

	  if(PID_term2 >= 0){
		  Motor_2(Duty2);
	  }
	  else if (PID_term2 < 0){
		  Motor_2(Duty2*-1);
	  }
	  else if(SetPoint2 == 0){
		  Motor_2(0);
		  Error2 = 0;
		  Sum_Error2 = 0;
		  Last_Error2 =0;
	  }

	  if(PID_term3 >= 0){
		  Motor_3(Duty3);
	  }
	  else if (PID_term3 < 0){
		  Motor_3(Duty3*-1);
	  }
	  else if(SetPoint3 == 0){
		  Motor_3(0);
		  Error3 = 0;
		  Sum_Error3 = 0;
		  Last_Error3 =0;
	  }

	  //====================================================================================================

   //}
   /* USER CODE END 3 */
   //  }

  }
}

void EXTI9_5_IRQHandler(void)
{
  HAL_GPIO_EXTI_IRQHandler(GPIO_PIN_9);
  if(HAL_GPIO_ReadPin(GPIOE, GPIO_PIN_11) == GPIO_PIN_SET) en3--;
  else if (HAL_GPIO_ReadPin(GPIOE, GPIO_PIN_11) == GPIO_PIN_RESET) en3++;
//  STM_Serial_Print("Encoder3 :");
//  STM_Serial_PrintInt(en3);
//  STM_Serial_Print(" | \n\r");
}

void EXTI15_10_IRQHandler(void)
{
  HAL_GPIO_EXTI_IRQHandler(GPIO_PIN_12);
  if(HAL_GPIO_ReadPin(GPIOE, GPIO_PIN_4) == GPIO_PIN_SET) en2--;
    else if (HAL_GPIO_ReadPin(GPIOE, GPIO_PIN_4) == GPIO_PIN_RESET) en2++;
//    STM_Serial_Print("Encoder2 :");
//    STM_Serial_PrintInt(en2);
//    STM_Serial_Print(" | \n\r");
}

void EXTI0_IRQHandler(void)
{
  HAL_GPIO_EXTI_IRQHandler(GPIO_PIN_0);
  if(HAL_GPIO_ReadPin(GPIOE, GPIO_PIN_5) == GPIO_PIN_SET) en1--;
    else if (HAL_GPIO_ReadPin(GPIOE, GPIO_PIN_5) == GPIO_PIN_RESET) en1++;
//    STM_Serial_Print("Encoder1 :");
//    STM_Serial_PrintInt(en1);
//    STM_Serial_Print(" | \n\r");
}
void SystemClock_Config(void)
{
  RCC_OscInitTypeDef RCC_OscInitStruct = {0};
  RCC_ClkInitTypeDef RCC_ClkInitStruct = {0};

  /** Configure the main internal regulator output voltage
  */
  __HAL_RCC_PWR_CLK_ENABLE();
  __HAL_PWR_VOLTAGESCALING_CONFIG(PWR_REGULATOR_VOLTAGE_SCALE1);
  /** Initializes the CPU, AHB and APB busses clocks
  */
  RCC_OscInitStruct.OscillatorType = RCC_OSCILLATORTYPE_HSI;
  RCC_OscInitStruct.HSIState = RCC_HSI_ON;
  RCC_OscInitStruct.HSICalibrationValue = RCC_HSICALIBRATION_DEFAULT;
  RCC_OscInitStruct.PLL.PLLState = RCC_PLL_NONE;
  if (HAL_RCC_OscConfig(&RCC_OscInitStruct) != HAL_OK)
  {
    Error_Handler();
  }
  /** Initializes the CPU, AHB and APB busses clocks
  */
  RCC_ClkInitStruct.ClockType = RCC_CLOCKTYPE_HCLK|RCC_CLOCKTYPE_SYSCLK
                              |RCC_CLOCKTYPE_PCLK1|RCC_CLOCKTYPE_PCLK2;
  RCC_ClkInitStruct.SYSCLKSource = RCC_SYSCLKSOURCE_HSI;
  RCC_ClkInitStruct.AHBCLKDivider = RCC_SYSCLK_DIV1;
  RCC_ClkInitStruct.APB1CLKDivider = RCC_HCLK_DIV1;
  RCC_ClkInitStruct.APB2CLKDivider = RCC_HCLK_DIV1;

  if (HAL_RCC_ClockConfig(&RCC_ClkInitStruct, FLASH_LATENCY_0) != HAL_OK)
  {
    Error_Handler();
  }
}

static void MX_I2C1_Init(void)
{

  hi2c1.Instance = I2C1;
  hi2c1.Init.ClockSpeed = 100000;
  hi2c1.Init.DutyCycle = I2C_DUTYCYCLE_2;
  hi2c1.Init.OwnAddress1 = 0;
  hi2c1.Init.AddressingMode = I2C_ADDRESSINGMODE_7BIT;
  hi2c1.Init.DualAddressMode = I2C_DUALADDRESS_DISABLE;
  hi2c1.Init.OwnAddress2 = 0;
  hi2c1.Init.GeneralCallMode = I2C_GENERALCALL_DISABLE;
  hi2c1.Init.NoStretchMode = I2C_NOSTRETCH_DISABLE;
  if (HAL_I2C_Init(&hi2c1) != HAL_OK)
  {
    Error_Handler();
  }

}

static void MX_TIM1_Init(void)
{

  TIM_ClockConfigTypeDef sClockSourceConfig = {0};
  TIM_MasterConfigTypeDef sMasterConfig = {0};

  htim1.Instance = TIM1;
  htim1.Init.Prescaler = 16000;
  htim1.Init.CounterMode = TIM_COUNTERMODE_UP;
  htim1.Init.Period = 3999;
  htim1.Init.ClockDivision = TIM_CLOCKDIVISION_DIV1;
  htim1.Init.RepetitionCounter = 0;
  htim1.Init.AutoReloadPreload = TIM_AUTORELOAD_PRELOAD_DISABLE;
  if (HAL_TIM_Base_Init(&htim1) != HAL_OK)
  {
    Error_Handler();
  }
  sClockSourceConfig.ClockSource = TIM_CLOCKSOURCE_INTERNAL;
  if (HAL_TIM_ConfigClockSource(&htim1, &sClockSourceConfig) != HAL_OK)
  {
    Error_Handler();
  }
  sMasterConfig.MasterOutputTrigger = TIM_TRGO_RESET;
  sMasterConfig.MasterSlaveMode = TIM_MASTERSLAVEMODE_DISABLE;
  if (HAL_TIMEx_MasterConfigSynchronization(&htim1, &sMasterConfig) != HAL_OK)
  {
    Error_Handler();
  }

}

static void MX_TIM2_Init(void)
{

  TIM_ClockConfigTypeDef sClockSourceConfig = {0};
  TIM_MasterConfigTypeDef sMasterConfig = {0};

  htim2.Instance = TIM2;
  htim2.Init.Prescaler = 16;
  htim2.Init.CounterMode = TIM_COUNTERMODE_UP;
  htim2.Init.Period = 2000;
  htim2.Init.ClockDivision = TIM_CLOCKDIVISION_DIV1;
  htim2.Init.AutoReloadPreload = TIM_AUTORELOAD_PRELOAD_DISABLE;
  if (HAL_TIM_Base_Init(&htim2) != HAL_OK)
  {
    Error_Handler();
  }
  sClockSourceConfig.ClockSource = TIM_CLOCKSOURCE_INTERNAL;
  if (HAL_TIM_ConfigClockSource(&htim2, &sClockSourceConfig) != HAL_OK)
  {
    Error_Handler();
  }
  sMasterConfig.MasterOutputTrigger = TIM_TRGO_RESET;
  sMasterConfig.MasterSlaveMode = TIM_MASTERSLAVEMODE_DISABLE;
  if (HAL_TIMEx_MasterConfigSynchronization(&htim2, &sMasterConfig) != HAL_OK)
  {
    Error_Handler();
  }

}

static void MX_TIM3_Init(void)
{

  TIM_MasterConfigTypeDef sMasterConfig = {0};
  TIM_OC_InitTypeDef sConfigOC = {0};

  htim3.Instance = TIM3;
  htim3.Init.Prescaler = 16;
  htim3.Init.CounterMode = TIM_COUNTERMODE_UP;
  htim3.Init.Period = 1024;
  htim3.Init.ClockDivision = TIM_CLOCKDIVISION_DIV1;
  htim3.Init.AutoReloadPreload = TIM_AUTORELOAD_PRELOAD_DISABLE;
  if (HAL_TIM_PWM_Init(&htim3) != HAL_OK)
  {
    Error_Handler();
  }
  sMasterConfig.MasterOutputTrigger = TIM_TRGO_RESET;
  sMasterConfig.MasterSlaveMode = TIM_MASTERSLAVEMODE_DISABLE;
  if (HAL_TIMEx_MasterConfigSynchronization(&htim3, &sMasterConfig) != HAL_OK)
  {
    Error_Handler();
  }
  sConfigOC.OCMode = TIM_OCMODE_PWM1;
  sConfigOC.Pulse = 0;
  sConfigOC.OCPolarity = TIM_OCPOLARITY_HIGH;
  sConfigOC.OCFastMode = TIM_OCFAST_DISABLE;
  if (HAL_TIM_PWM_ConfigChannel(&htim3, &sConfigOC, TIM_CHANNEL_3) != HAL_OK)
  {
    Error_Handler();
  }
  if (HAL_TIM_PWM_ConfigChannel(&htim3, &sConfigOC, TIM_CHANNEL_4) != HAL_OK)
  {
    Error_Handler();
  }
  HAL_TIM_MspPostInit(&htim3);

}

static void MX_TIM5_Init(void)
{

  TIM_MasterConfigTypeDef sMasterConfig = {0};
  TIM_OC_InitTypeDef sConfigOC = {0};

  htim5.Instance = TIM5;
  htim5.Init.Prescaler = 16;
  htim5.Init.CounterMode = TIM_COUNTERMODE_UP;
  htim5.Init.Period = 1024;
  htim5.Init.ClockDivision = TIM_CLOCKDIVISION_DIV1;
  htim5.Init.AutoReloadPreload = TIM_AUTORELOAD_PRELOAD_DISABLE;
  if (HAL_TIM_PWM_Init(&htim5) != HAL_OK)
  {
    Error_Handler();
  }
  sMasterConfig.MasterOutputTrigger = TIM_TRGO_RESET;
  sMasterConfig.MasterSlaveMode = TIM_MASTERSLAVEMODE_DISABLE;
  if (HAL_TIMEx_MasterConfigSynchronization(&htim5, &sMasterConfig) != HAL_OK)
  {
    Error_Handler();
  }
  sConfigOC.OCMode = TIM_OCMODE_PWM1;
  sConfigOC.Pulse = 0;
  sConfigOC.OCPolarity = TIM_OCPOLARITY_HIGH;
  sConfigOC.OCFastMode = TIM_OCFAST_DISABLE;
  if (HAL_TIM_PWM_ConfigChannel(&htim5, &sConfigOC, TIM_CHANNEL_1) != HAL_OK)
  {
    Error_Handler();
  }
  if (HAL_TIM_PWM_ConfigChannel(&htim5, &sConfigOC, TIM_CHANNEL_2) != HAL_OK)
  {
    Error_Handler();
  }
  HAL_TIM_MspPostInit(&htim5);

}

static void MX_TIM8_Init(void)
{

  TIM_MasterConfigTypeDef sMasterConfig = {0};
  TIM_OC_InitTypeDef sConfigOC = {0};
  TIM_BreakDeadTimeConfigTypeDef sBreakDeadTimeConfig = {0};

  htim8.Instance = TIM8;
  htim8.Init.Prescaler = 16;
  htim8.Init.CounterMode = TIM_COUNTERMODE_UP;
  htim8.Init.Period = 1024;
  htim8.Init.ClockDivision = TIM_CLOCKDIVISION_DIV1;
  htim8.Init.RepetitionCounter = 0;
  htim8.Init.AutoReloadPreload = TIM_AUTORELOAD_PRELOAD_DISABLE;
  if (HAL_TIM_PWM_Init(&htim8) != HAL_OK)
  {
    Error_Handler();
  }
  sMasterConfig.MasterOutputTrigger = TIM_TRGO_RESET;
  sMasterConfig.MasterSlaveMode = TIM_MASTERSLAVEMODE_DISABLE;
  if (HAL_TIMEx_MasterConfigSynchronization(&htim8, &sMasterConfig) != HAL_OK)
  {
    Error_Handler();
  }
  sConfigOC.OCMode = TIM_OCMODE_PWM1;
  sConfigOC.Pulse = 0;
  sConfigOC.OCPolarity = TIM_OCPOLARITY_HIGH;
  sConfigOC.OCNPolarity = TIM_OCNPOLARITY_HIGH;
  sConfigOC.OCFastMode = TIM_OCFAST_DISABLE;
  sConfigOC.OCIdleState = TIM_OCIDLESTATE_RESET;
  sConfigOC.OCNIdleState = TIM_OCNIDLESTATE_RESET;
  if (HAL_TIM_PWM_ConfigChannel(&htim8, &sConfigOC, TIM_CHANNEL_1) != HAL_OK)
  {
    Error_Handler();
  }
  if (HAL_TIM_PWM_ConfigChannel(&htim8, &sConfigOC, TIM_CHANNEL_2) != HAL_OK)
  {
    Error_Handler();
  }
  sBreakDeadTimeConfig.OffStateRunMode = TIM_OSSR_DISABLE;
  sBreakDeadTimeConfig.OffStateIDLEMode = TIM_OSSI_DISABLE;
  sBreakDeadTimeConfig.LockLevel = TIM_LOCKLEVEL_OFF;
  sBreakDeadTimeConfig.DeadTime = 0;
  sBreakDeadTimeConfig.BreakState = TIM_BREAK_DISABLE;
  sBreakDeadTimeConfig.BreakPolarity = TIM_BREAKPOLARITY_HIGH;
  sBreakDeadTimeConfig.AutomaticOutput = TIM_AUTOMATICOUTPUT_DISABLE;
  if (HAL_TIMEx_ConfigBreakDeadTime(&htim8, &sBreakDeadTimeConfig) != HAL_OK)
  {
    Error_Handler();
  }
  HAL_TIM_MspPostInit(&htim8);

}

static void MX_USART1_Init(void)
{

  husart1.Instance = USART1;
  husart1.Init.BaudRate = 115200;
  husart1.Init.WordLength = USART_WORDLENGTH_8B;
  husart1.Init.StopBits = USART_STOPBITS_1;
  husart1.Init.Parity = USART_PARITY_NONE;
  husart1.Init.Mode = USART_MODE_TX_RX;
  husart1.Init.CLKPolarity = USART_POLARITY_LOW;
  husart1.Init.CLKPhase = USART_PHASE_1EDGE;
  husart1.Init.CLKLastBit = USART_LASTBIT_DISABLE;
  if (HAL_USART_Init(&husart1) != HAL_OK)
  {
    Error_Handler();
  }

}

static void MX_USART2_UART_Init(void)
{

  huart2.Instance = USART2;
  huart2.Init.BaudRate = 9600;
  huart2.Init.WordLength = UART_WORDLENGTH_8B;
  huart2.Init.StopBits = UART_STOPBITS_1;
  huart2.Init.Parity = UART_PARITY_NONE;
  huart2.Init.Mode = UART_MODE_TX_RX;
  huart2.Init.HwFlowCtl = UART_HWCONTROL_NONE;
  huart2.Init.OverSampling = UART_OVERSAMPLING_16;
  if (HAL_UART_Init(&huart2) != HAL_OK)
  {
    Error_Handler();
  }

}

static void MX_USART3_UART_Init(void)
{

  huart3.Instance = USART3;
  huart3.Init.BaudRate = 9600;
  huart3.Init.WordLength = UART_WORDLENGTH_8B;
  huart3.Init.StopBits = UART_STOPBITS_1;
  huart3.Init.Parity = UART_PARITY_NONE;
  huart3.Init.Mode = UART_MODE_TX_RX;
  huart3.Init.HwFlowCtl = UART_HWCONTROL_NONE;
  huart3.Init.OverSampling = UART_OVERSAMPLING_16;
  if (HAL_UART_Init(&huart3) != HAL_OK)
  {
    Error_Handler();
  }

}

static void MX_DMA_Init(void)
{

  /* DMA controller clock enable */
  __HAL_RCC_DMA1_CLK_ENABLE();

  /* DMA interrupt init */
  /* DMA1_Stream5_IRQn interrupt configuration */
  HAL_NVIC_SetPriority(DMA1_Stream5_IRQn, 0, 0);
  HAL_NVIC_EnableIRQ(DMA1_Stream5_IRQn);

}

static void MX_GPIO_Init(void)
{
  GPIO_InitTypeDef GPIO_InitStruct = {0};

  /* GPIO Ports Clock Enable */
  __HAL_RCC_GPIOE_CLK_ENABLE();
  __HAL_RCC_GPIOH_CLK_ENABLE();
  __HAL_RCC_GPIOA_CLK_ENABLE();
  __HAL_RCC_GPIOB_CLK_ENABLE();
  __HAL_RCC_GPIOC_CLK_ENABLE();
  __HAL_RCC_GPIOD_CLK_ENABLE();

  /*Configure GPIO pins : PE4 PE5 PE11 */
  GPIO_InitStruct.Pin = GPIO_PIN_4|GPIO_PIN_5|GPIO_PIN_11;
  GPIO_InitStruct.Mode = GPIO_MODE_INPUT;
  GPIO_InitStruct.Pull = GPIO_PULLUP;
  HAL_GPIO_Init(GPIOE, &GPIO_InitStruct);

  /*Configure GPIO pin : PE9 */
  GPIO_InitStruct.Pin = GPIO_PIN_9;
  GPIO_InitStruct.Mode = GPIO_MODE_IT_RISING;
  GPIO_InitStruct.Pull = GPIO_PULLUP;
  HAL_GPIO_Init(GPIOE, &GPIO_InitStruct);

  /*Configure GPIO pin : PC12 */
  GPIO_InitStruct.Pin = GPIO_PIN_12;
  GPIO_InitStruct.Mode = GPIO_MODE_IT_RISING;
  GPIO_InitStruct.Pull = GPIO_PULLUP;
  HAL_GPIO_Init(GPIOC, &GPIO_InitStruct);

  /*Configure GPIO pin : PD0 */
  GPIO_InitStruct.Pin = GPIO_PIN_0;
  GPIO_InitStruct.Mode = GPIO_MODE_IT_RISING;
  GPIO_InitStruct.Pull = GPIO_PULLUP;
  HAL_GPIO_Init(GPIOD, &GPIO_InitStruct);

  /* EXTI interrupt init*/
  HAL_NVIC_SetPriority(EXTI0_IRQn, 0, 0);
  HAL_NVIC_EnableIRQ(EXTI0_IRQn);

  HAL_NVIC_SetPriority(EXTI9_5_IRQn, 0, 0);
  HAL_NVIC_EnableIRQ(EXTI9_5_IRQn);

  HAL_NVIC_SetPriority(EXTI15_10_IRQn, 0, 0);
  HAL_NVIC_EnableIRQ(EXTI15_10_IRQn);

}

/* USER CODE BEGIN 4 */
void HAL_UART_RxCpltCallback(UART_HandleTypeDef *huart)
{
  /* Prevent unused argument(s) compilation warning */
  __NOP();
	//UNUSED(huart);
  /* NOTE: This function should not be modified, when the callback is needed,
           the HAL_UART_RxCpltCallback could be implemented in the user file
   */
//  HAL_UART_Receive_DMA(&huart2,(uint8_t*)rxData,10);
  HAL_UART_Transmit(&huart2, (uint8_t*)rxData,strlen(rxData),100);
  HAL_UART_Transmit(&huart3, (uint8_t*)rxData,strlen(rxData),100);
  //STM_Serial_Print(rxData);

}

void HAL_UART_TxCpltCallback(UART_HandleTypeDef *huart)
{
  /* Prevent unused argument(s) compilation warning */
  __NOP();
	//UNUSED(huart);
  /* NOTE: This function should not be modified, when the callback is needed,
           the HAL_UART_RxCpltCallback could be implemented in the user file
   */
  HAL_UART_Receive_DMA(&huart2,(uint8_t*)rxData,100);
  HAL_UART_Receive_DMA(&huart3,(uint8_t*)rxData,100);
//  HAL_UART_Transmit(&huart2, (uint8_t*)rxData,strlen(rxData),10);
  //STM_Serial_Print(rxData);

}

/* USER CODE END 4 */

void Error_Handler(void)
{
  while(1)
  {
  }
}

/************************ (C) COPYRIGHT STMicroelectronics *****END OF FILE****/
s
